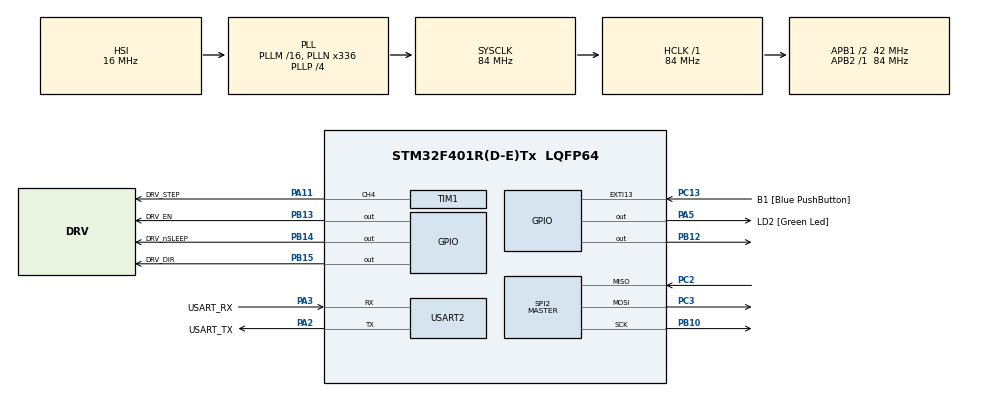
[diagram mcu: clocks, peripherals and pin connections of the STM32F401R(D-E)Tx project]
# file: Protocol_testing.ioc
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Mcu.Family=STM32F4
Mcu.Name=STM32F401R(D-E)Tx
Mcu.Package=LQFP64
NVIC.PriorityGroup=NVIC_PRIORITYGROUP_0
PA11.GPIO_Label=DRV_STEP
PA11.Signal=S_TIM1_CH4
PA13.GPIO_Label=TMS
PA13.Mode=Serial_Wire
PA13.Signal=SYS_JTMS-SWDIO
PA14.GPIO_Label=TCK
PA14.Mode=Serial_Wire
PA14.Signal=SYS_JTCK-SWCLK
PA2.GPIO_Label=USART_TX
PA2.GPIO_Mode=GPIO_MODE_AF_PP
PA2.GPIO_PuPd=GPIO_NOPULL
PA2.GPIO_Speed=GPIO_SPEED_FREQ_LOW
PA2.Mode=Asynchronous
PA2.Signal=USART2_TX
PA3.GPIO_Label=USART_RX
PA3.GPIO_Mode=GPIO_MODE_AF_PP
PA3.GPIO_PuPd=GPIO_NOPULL
PA3.GPIO_Speed=GPIO_SPEED_FREQ_LOW
PA3.Mode=Asynchronous
PA3.Signal=USART2_RX
PA5.GPIO_Label=LD2 [Green Led]
PA5.GPIO_Mode=GPIO_MODE_OUTPUT_PP
PA5.GPIO_PuPd=GPIO_NOPULL
PA5.GPIO_Speed=GPIO_SPEED_FREQ_LOW
PA5.Signal=GPIO_Output
PB10.Mode=Full_Duplex_Master
PB10.Signal=SPI2_SCK
PB12.GPIO_Speed=GPIO_SPEED_FREQ_VERY_HIGH
PB12.PinState=GPIO_PIN_SET
PB12.Signal=GPIO_Output
PB13.GPIO_Label=DRV_EN
PB13.Signal=GPIO_Output
PB14.GPIO_Label=DRV_nSLEEP
PB14.Signal=GPIO_Output
PB15.GPIO_Label=DRV_DIR
PB15.Signal=GPIO_Output
PB3.GPIO_Label=SWO
PB3.Signal=SYS_JTDO-SWO
PC13-ANTI_TAMP.GPIO_Label=B1 [Blue PushButton]
PC13-ANTI_TAMP.GPIO_ModeDefaultEXTI=GPIO_MODE_IT_FALLING
PC13-ANTI_TAMP.GPIO_PuPd=GPIO_NOPULL
PC13-ANTI_TAMP.Signal=GPXTI13
PC14-OSC32_IN.Mode=LSE-External-Oscillator
PC14-OSC32_IN.Signal=RCC_OSC32_IN
PC15-OSC32_OUT.Mode=LSE-External-Oscillator
PC15-OSC32_OUT.Signal=RCC_OSC32_OUT
PC2.Mode=Full_Duplex_Master
PC2.Signal=SPI2_MISO
PC3.Mode=Full_Duplex_Master
PC3.Signal=SPI2_MOSI
PH0\ -\ OSC_IN.Mode=HSE-External-Clock-Source
PH0\ -\ OSC_IN.Signal=RCC_OSC_IN
PH1\ -\ OSC_OUT.Mode=HSE-External-Clock-Source
PH1\ -\ OSC_OUT.Signal=RCC_OSC_OUT
ProjectManager.HeapSize=0x200
ProjectManager.StackSize=0x400
ProjectManager.TargetToolchain=STM32CubeIDE
RCC.48MHZClocksFreq_Value=48000000
RCC.AHBFreq_Value=84000000
RCC.APB1CLKDivider=RCC_HCLK_DIV2
RCC.APB1Freq_Value=42000000
RCC.APB1TimFreq_Value=84000000
RCC.APB2Freq_Value=84000000
RCC.APB2TimFreq_Value=84000000
RCC.CortexFreq_Value=84000000
RCC.HCLKFreq_Value=84000000
RCC.HSE_VALUE=8000000
RCC.HSI_VALUE=16000000
RCC.PLLN=336
RCC.PLLP=RCC_PLLP_DIV4
RCC.PLLQ=7
RCC.SYSCLKFreq_VALUE=84000000
RCC.SYSCLKSource=RCC_SYSCLKSOURCE_PLLCLK
RCC.VCOOutputFreq_Value=336000000
SH.S_TIM1_CH4.0=TIM1_CH4,PWM Generation4 CH4
SPI2.BaudRatePrescaler=SPI_BAUDRATEPRESCALER_16
SPI2.Direction=SPI_DIRECTION_2LINES
SPI2.Mode=SPI_MODE_MASTER
SPI2.VirtualType=VM_MASTER
TIM1.Channel-PWM\ Generation4\ CH4=TIM_CHANNEL_4
TIM1.Period=999
TIM1.Prescaler=83
TIM1.Pulse-PWM\ Generation4\ CH4=500
USART2.VirtualMode=VM_ASYNC
VP_TIM1_VS_ClockSourceINT.Mode=Internal
board=NUCLEO-F401RE

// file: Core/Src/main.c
/* USER CODE BEGIN Header */
/**
  ******************************************************************************
  * @file           : main.c
  * @brief          : Main program body
  ******************************************************************************
  * @attention
  *
  * Copyright (c) 2026 STMicroelectronics.
  * All rights reserved.
  *
  * This software is licensed under terms that can be found in the LICENSE file
  * in the root directory of this software component.
  * If no LICENSE file comes with this software, it is provided AS-IS.
  *
  ******************************************************************************
  */
/* USER CODE END Header */
#include "main.h"

SPI_HandleTypeDef hspi2;

TIM_HandleTypeDef htim1;

UART_HandleTypeDef huart2;

void SystemClock_Config(void);
static void MX_GPIO_Init(void);
static void MX_USART2_UART_Init(void);
static void MX_SPI2_Init(void);
static void MX_TIM1_Init(void);

/* USER CODE BEGIN 0 */
void SPI2_WriteRegister(uint8_t addr, uint8_t data){
	 uint8_t buffer[] = {addr, data};

	 HAL_GPIO_WritePin(GPIOB, GPIO_PIN_12, GPIO_PIN_RESET);
	 //HAL_Delay(10);
	 HAL_SPI_Transmit(&hspi2, buffer, 2, 100);
	 //HAL_Delay(10);
	 HAL_GPIO_WritePin(GPIOB, GPIO_PIN_12, GPIO_PIN_SET);

}

void StepperDRV_Init(){
	//Enable Driver
	HAL_GPIO_WritePin(DRV_EN_GPIO_Port, DRV_EN_Pin, GPIO_PIN_RESET);
	HAL_GPIO_WritePin(DRV_nSLEEP_GPIO_Port, DRV_nSLEEP_Pin, GPIO_PIN_SET);
	HAL_Delay(100);
	//Set Driver initial values
	SPI2_WriteRegister(0x10, 0x12);
	SPI2_WriteRegister(0x0D, 0xFF);
	SPI2_WriteRegister(0x0E, 0x80);
	SPI2_WriteRegister(0x0F, 0xA0);
	SPI2_WriteRegister(0x05, 0x05);
	SPI2_WriteRegister(0x04, 0x88);
}
/* USER CODE END 0 */

int main(void)
{
  /* USER CODE BEGIN 1 */
	//uint8_t i = 0;
  /* USER CODE END 1 */

  /* MCU Configuration--------------------------------------------------------*/

  /* Reset of all peripherals, Initializes the Flash interface and the Systick. */
  HAL_Init();

  /* Configure the system clock */
  SystemClock_Config();

  /* Initialize all configured peripherals */
  MX_GPIO_Init();
  MX_USART2_UART_Init();
  MX_SPI2_Init();
  MX_TIM1_Init();
  /* USER CODE BEGIN 2 */
  StepperDRV_Init();

  HAL_GPIO_WritePin(DRV_EN_GPIO_Port, DRV_EN_Pin, GPIO_PIN_SET);
    HAL_GPIO_WritePin(DRV_DIR_GPIO_Port, DRV_DIR_Pin, GPIO_PIN_SET);
    HAL_TIM_PWM_Start(&htim1, TIM_CHANNEL_4);
    HAL_Delay(6000); // 333Hz * 6s ≈ 2000 pulseva (3x sporije od 1kHz)
    HAL_TIM_PWM_Stop(&htim1, TIM_CHANNEL_4);
  /* USER CODE END 2 */

    HAL_Delay(1000); // pauza između smerova
  /* Infinite loop */
  while (1)
  {

    /* USER CODE BEGIN 3 */
	  HAL_GPIO_WritePin(DRV_EN_GPIO_Port, DRV_EN_Pin, GPIO_PIN_SET);
	    HAL_GPIO_WritePin(DRV_DIR_GPIO_Port, DRV_DIR_Pin, GPIO_PIN_RESET);
	    HAL_TIM_PWM_Start(&htim1, TIM_CHANNEL_4);
	    HAL_Delay(12000); // 333Hz * 6s ≈ 2000 pulseva (3x sporije od 1kHz)
	    HAL_TIM_PWM_Stop(&htim1, TIM_CHANNEL_4);

	    HAL_Delay(3000); // pauza između smerova

	    // 10 krugova u drugu stranu
	    HAL_GPIO_WritePin(DRV_DIR_GPIO_Port, DRV_DIR_Pin, GPIO_PIN_SET);
	    HAL_TIM_PWM_Start(&htim1, TIM_CHANNEL_4);
	    HAL_Delay(12000);
	    HAL_TIM_PWM_Stop(&htim1, TIM_CHANNEL_4);

	    HAL_Delay(3000);

  }
  /* USER CODE END 3 */
}

void SystemClock_Config(void)
{
  RCC_OscInitTypeDef RCC_OscInitStruct = {0};
  RCC_ClkInitTypeDef RCC_ClkInitStruct = {0};

  /** Configure the main internal regulator output voltage
  */
  __HAL_RCC_PWR_CLK_ENABLE();
  __HAL_PWR_VOLTAGESCALING_CONFIG(PWR_REGULATOR_VOLTAGE_SCALE2);

  /** Initializes the RCC Oscillators according to the specified parameters
  * in the RCC_OscInitTypeDef structure.
  */
  RCC_OscInitStruct.OscillatorType = RCC_OSCILLATORTYPE_HSI;
  RCC_OscInitStruct.HSIState = RCC_HSI_ON;
  RCC_OscInitStruct.HSICalibrationValue = RCC_HSICALIBRATION_DEFAULT;
  RCC_OscInitStruct.PLL.PLLState = RCC_PLL_ON;
  RCC_OscInitStruct.PLL.PLLSource = RCC_PLLSOURCE_HSI;
  RCC_OscInitStruct.PLL.PLLM = 16;
  RCC_OscInitStruct.PLL.PLLN = 336;
  RCC_OscInitStruct.PLL.PLLP = RCC_PLLP_DIV4;
  RCC_OscInitStruct.PLL.PLLQ = 7;
  if (HAL_RCC_OscConfig(&RCC_OscInitStruct) != HAL_OK)
  {
    Error_Handler();
  }

  /** Initializes the CPU, AHB and APB buses clocks
  */
  RCC_ClkInitStruct.ClockType = RCC_CLOCKTYPE_HCLK|RCC_CLOCKTYPE_SYSCLK
                              |RCC_CLOCKTYPE_PCLK1|RCC_CLOCKTYPE_PCLK2;
  RCC_ClkInitStruct.SYSCLKSource = RCC_SYSCLKSOURCE_PLLCLK;
  RCC_ClkInitStruct.AHBCLKDivider = RCC_SYSCLK_DIV1;
  RCC_ClkInitStruct.APB1CLKDivider = RCC_HCLK_DIV2;
  RCC_ClkInitStruct.APB2CLKDivider = RCC_HCLK_DIV1;

  if (HAL_RCC_ClockConfig(&RCC_ClkInitStruct, FLASH_LATENCY_2) != HAL_OK)
  {
    Error_Handler();
  }
}

static void MX_SPI2_Init(void)
{

  /* SPI2 parameter configuration*/
  hspi2.Instance = SPI2;
  hspi2.Init.Mode = SPI_MODE_MASTER;
  hspi2.Init.Direction = SPI_DIRECTION_2LINES;
  hspi2.Init.DataSize = SPI_DATASIZE_8BIT;
  hspi2.Init.CLKPolarity = SPI_POLARITY_LOW;
  hspi2.Init.CLKPhase = SPI_PHASE_2EDGE;
  hspi2.Init.NSS = SPI_NSS_SOFT;
  hspi2.Init.BaudRatePrescaler = SPI_BAUDRATEPRESCALER_16;
  hspi2.Init.FirstBit = SPI_FIRSTBIT_MSB;
  hspi2.Init.TIMode = SPI_TIMODE_DISABLE;
  hspi2.Init.CRCCalculation = SPI_CRCCALCULATION_DISABLE;
  hspi2.Init.CRCPolynomial = 10;
  if (HAL_SPI_Init(&hspi2) != HAL_OK)
  {
    Error_Handler();
  }

}

static void MX_TIM1_Init(void)
{

  TIM_ClockConfigTypeDef sClockSourceConfig = {0};
  TIM_MasterConfigTypeDef sMasterConfig = {0};
  TIM_OC_InitTypeDef sConfigOC = {0};
  TIM_BreakDeadTimeConfigTypeDef sBreakDeadTimeConfig = {0};

  htim1.Instance = TIM1;
  htim1.Init.Prescaler = 83;
  htim1.Init.CounterMode = TIM_COUNTERMODE_UP;
  htim1.Init.Period = 2999;
  htim1.Init.ClockDivision = TIM_CLOCKDIVISION_DIV1;
  htim1.Init.RepetitionCounter = 0;
  htim1.Init.AutoReloadPreload = TIM_AUTORELOAD_PRELOAD_DISABLE;
  if (HAL_TIM_Base_Init(&htim1) != HAL_OK)
  {
    Error_Handler();
  }
  sClockSourceConfig.ClockSource = TIM_CLOCKSOURCE_INTERNAL;
  if (HAL_TIM_ConfigClockSource(&htim1, &sClockSourceConfig) != HAL_OK)
  {
    Error_Handler();
  }
  if (HAL_TIM_PWM_Init(&htim1) != HAL_OK)
  {
    Error_Handler();
  }
  sMasterConfig.MasterOutputTrigger = TIM_TRGO_RESET;
  sMasterConfig.MasterSlaveMode = TIM_MASTERSLAVEMODE_DISABLE;
  if (HAL_TIMEx_MasterConfigSynchronization(&htim1, &sMasterConfig) != HAL_OK)
  {
    Error_Handler();
  }
  sConfigOC.OCMode = TIM_OCMODE_PWM1;
  sConfigOC.Pulse = 500;
  sConfigOC.OCPolarity = TIM_OCPOLARITY_HIGH;
  sConfigOC.OCFastMode = TIM_OCFAST_DISABLE;
  sConfigOC.OCIdleState = TIM_OCIDLESTATE_RESET;
  sConfigOC.OCNIdleState = TIM_OCNIDLESTATE_RESET;
  if (HAL_TIM_PWM_ConfigChannel(&htim1, &sConfigOC, TIM_CHANNEL_4) != HAL_OK)
  {
    Error_Handler();
  }
  sBreakDeadTimeConfig.OffStateRunMode = TIM_OSSR_DISABLE;
  sBreakDeadTimeConfig.OffStateIDLEMode = TIM_OSSI_DISABLE;
  sBreakDeadTimeConfig.LockLevel = TIM_LOCKLEVEL_OFF;
  sBreakDeadTimeConfig.DeadTime = 0;
  sBreakDeadTimeConfig.BreakState = TIM_BREAK_DISABLE;
  sBreakDeadTimeConfig.BreakPolarity = TIM_BREAKPOLARITY_HIGH;
  sBreakDeadTimeConfig.AutomaticOutput = TIM_AUTOMATICOUTPUT_DISABLE;
  if (HAL_TIMEx_ConfigBreakDeadTime(&htim1, &sBreakDeadTimeConfig) != HAL_OK)
  {
    Error_Handler();
  }
  HAL_TIM_MspPostInit(&htim1);

}

static void MX_USART2_UART_Init(void)
{

  huart2.Instance = USART2;
  huart2.Init.BaudRate = 115200;
  huart2.Init.WordLength = UART_WORDLENGTH_8B;
  huart2.Init.StopBits = UART_STOPBITS_1;
  huart2.Init.Parity = UART_PARITY_NONE;
  huart2.Init.Mode = UART_MODE_TX_RX;
  huart2.Init.HwFlowCtl = UART_HWCONTROL_NONE;
  huart2.Init.OverSampling = UART_OVERSAMPLING_16;
  if (HAL_UART_Init(&huart2) != HAL_OK)
  {
    Error_Handler();
  }

}

static void MX_GPIO_Init(void)
{
  GPIO_InitTypeDef GPIO_InitStruct = {0};

  /* GPIO Ports Clock Enable */
  __HAL_RCC_GPIOC_CLK_ENABLE();
  __HAL_RCC_GPIOH_CLK_ENABLE();
  __HAL_RCC_GPIOA_CLK_ENABLE();
  __HAL_RCC_GPIOB_CLK_ENABLE();

  /*Configure GPIO pin Output Level */
  HAL_GPIO_WritePin(LD2_GPIO_Port, LD2_Pin, GPIO_PIN_RESET);

  /*Configure GPIO pin Output Level */
  HAL_GPIO_WritePin(GPIOB, GPIO_PIN_12, GPIO_PIN_SET);

  /*Configure GPIO pin Output Level */
  HAL_GPIO_WritePin(GPIOB, DRV_EN_Pin|DRV_nSLEEP_Pin|DRV_DIR_Pin, GPIO_PIN_RESET);

  /*Configure GPIO pin : B1_Pin */
  GPIO_InitStruct.Pin = B1_Pin;
  GPIO_InitStruct.Mode = GPIO_MODE_IT_FALLING;
  GPIO_InitStruct.Pull = GPIO_NOPULL;
  HAL_GPIO_Init(B1_GPIO_Port, &GPIO_InitStruct);

  /*Configure GPIO pin : LD2_Pin */
  GPIO_InitStruct.Pin = LD2_Pin;
  GPIO_InitStruct.Mode = GPIO_MODE_OUTPUT_PP;
  GPIO_InitStruct.Pull = GPIO_NOPULL;
  GPIO_InitStruct.Speed = GPIO_SPEED_FREQ_LOW;
  HAL_GPIO_Init(LD2_GPIO_Port, &GPIO_InitStruct);

  /*Configure GPIO pin : PB12 */
  GPIO_InitStruct.Pin = GPIO_PIN_12;
  GPIO_InitStruct.Mode = GPIO_MODE_OUTPUT_PP;
  GPIO_InitStruct.Pull = GPIO_NOPULL;
  GPIO_InitStruct.Speed = GPIO_SPEED_FREQ_VERY_HIGH;
  HAL_GPIO_Init(GPIOB, &GPIO_InitStruct);

  /*Configure GPIO pins : DRV_EN_Pin DRV_nSLEEP_Pin DRV_DIR_Pin */
  GPIO_InitStruct.Pin = DRV_EN_Pin|DRV_nSLEEP_Pin|DRV_DIR_Pin;
  GPIO_InitStruct.Mode = GPIO_MODE_OUTPUT_PP;
  GPIO_InitStruct.Pull = GPIO_NOPULL;
  GPIO_InitStruct.Speed = GPIO_SPEED_FREQ_LOW;
  HAL_GPIO_Init(GPIOB, &GPIO_InitStruct);

}

/* USER CODE BEGIN 4 */
/*Configure GPIO pin : PB12 */

/* USER CODE END 4 */

void Error_Handler(void)
{
  __disable_irq();
  while (1)
  {
  }
}
